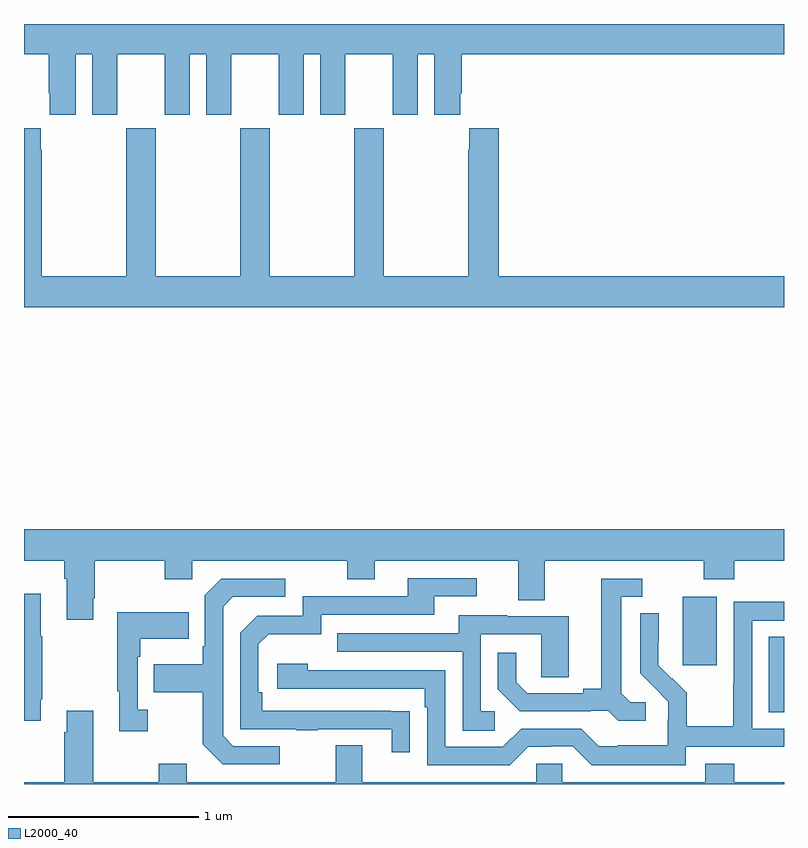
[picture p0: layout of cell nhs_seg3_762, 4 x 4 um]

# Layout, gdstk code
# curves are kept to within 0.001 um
import gdstk
lib = gdstk.Library(unit=1e-6, precision=1e-09)
def R(c, l, rs):  # rectangles x0, y0, x1, y1
    for r in rs: c.add(gdstk.rectangle(r[:2], r[2:], *l))
def P(c, l, *ps):  # polygons
    for p in ps: c.add(gdstk.Polygon(p, *l))
L2000_40 = (2000, 40)

nhs_seg3_762 = lib.new_cell('nhs_seg3_762')
R(nhs_seg3_762, L2000_40, [(152.921,706.777,153,707.174), (152.468,707.025,152.647,707.386)])
P(nhs_seg3_762, L2000_40, [(149,710.24),(149.129,710.24),(149.129,710.035),(149.135,710.035),(149.135,709.923),(149.272,709.923),(149.272,710.24),(149.36,710.24),(149.36,709.923),(149.491,709.923),(149.491,710.24),(149.741,710.24),(149.741,709.923),(149.872,709.923),(149.872,710.24),(149.96,710.24),(149.96,709.923),(150.091,709.923),(150.091,710.24),(150.341,710.24),(150.341,709.923),(150.472,709.923),(150.472,710.24),(150.56,710.24),(150.56,709.923),(150.691,709.923),(150.691,710.24),(150.941,710.24),(150.941,709.923),(151.072,709.923),(151.072,710.24),(151.16,710.24),(151.16,709.923),(151.297,709.923),(151.297,710.035),(151.304,710.035),(151.304,710.24),(153,710.24),(153,710.4),(149,710.4)],
  [(153,709.072),(151.499,709.072),(151.499,709.852),(151.343,709.852),(151.343,709.739),(151.339,709.739),(151.339,709.072),(150.894,709.072),(150.894,709.852),(150.739,709.852),(150.739,709.072),(150.294,709.072),(150.294,709.852),(150.139,709.852),(150.139,709.072),(149.694,709.072),(149.694,709.852),(149.539,709.852),(149.539,709.072),(149.094,709.072),(149.094,709.739),(149.089,709.739),(149.089,709.852),(149,709.852),(149,708.908),(153,708.908)],
  [(149.365,707.377),(149.373,707.377),(149.373,707.576),(149.74,707.576),(149.74,707.477),(149.886,707.477),(149.886,707.576),(150.7,707.576),(150.7,707.477),(150.847,707.477),(150.847,707.576),(151.601,707.576),(151.601,707.368),(151.741,707.368),(151.741,707.576),(152.578,707.576),(152.578,707.477),(152.738,707.477),(152.738,707.576),(153,707.576),(153,707.74),(149,707.74),(149,707.576),(149.213,707.576),(149.213,707.48),(149.225,707.48),(149.225,707.265),(149.365,707.265)],
  [(151.031,706.784),(150.254,706.785),(150.254,706.882),(150.234,706.882),(150.234,707.136),(150.287,707.189),(150.564,707.189),(150.564,707.292),(151.159,707.292),(151.159,707.388),(151.384,707.388),(151.384,707.484),(151.019,707.484),(151.019,707.388),(150.468,707.388),(150.468,707.286),(150.228,707.286),(150.138,707.196),(150.138,706.689),(150.433,706.689),(150.433,706.684),(150.545,706.684),(150.545,706.689),(150.935,706.689),(150.935,706.566),(151.031,706.566)],
  [(152.272,706.83),(152.19,706.83),(152.143,706.877),(152.143,707.385),(152.254,707.385),(152.254,707.481),(152.039,707.481),(152.039,706.901),(151.943,706.901),(151.943,706.878),(151.648,706.878),(151.591,706.935),(151.591,707.092),(151.494,707.092),(151.494,706.898),(151.61,706.782),(151.982,706.782),(151.982,706.785),(152.076,706.785),(152.128,706.733),(152.272,706.733)],
  [(150.346,706.599),(150.102,706.599),(150.048,706.653),(150.048,707.334),(150.099,707.385),(150.376,707.385),(150.376,707.481),(150.039,707.481),(149.952,707.394),(149.952,707.125),(149.94,707.125),(149.94,707.029),(149.683,707.029),(149.683,706.882),(149.94,706.882),(149.94,706.609),(150.045,706.503),(150.346,706.503)],
  [(149.089,706.846),(149.097,706.846),(149.097,707.177),(149.089,707.177),(149.089,707.401),(149,707.401),(149,706.734),(149.089,706.734)],
  [(152.484,706.596),(153,706.596),(153,706.692),(152.832,706.692),(152.832,707.259),(153,707.259),(153,707.358),(152.736,707.358),(152.736,706.928),(152.734,706.928),(152.734,706.705),(152.489,706.705),(152.489,706.879),(152.412,706.956),(152.409,706.953),(152.339,707.024),(152.34,707.3),(152.244,707.3),(152.244,706.982),(152.39,706.834),(152.39,706.737),(152.388,706.737),(152.388,706.603),(152.125,706.603),(152.125,706.599),(152.025,706.599),(151.932,706.692),(151.617,706.692),(151.521,706.596),(151.218,706.596),(151.218,706.998),(150.494,706.998),(150.494,707.032),(150.333,707.032),(150.333,706.902),(151.109,706.902),(151.109,706.805),(151.122,706.805),(151.122,706.5),(151.557,706.5),(151.653,706.596),(151.772,706.596),(151.772,706.599),(151.887,706.599),(151.987,706.499),(152.484,706.499)],
  [(149.65,706.79),(149.598,706.79),(149.598,707.069),(149.611,707.069),(149.611,707.165),(149.867,707.165),(149.867,707.305),(149.49,707.305),(149.49,706.889),(149.501,706.889),(149.501,706.677),(149.65,706.677)],
  [(151.477,706.782),(151.404,706.782),(151.404,707.187),(151.722,707.187),(151.722,706.963),(151.867,706.963),(151.867,707.283),(151.543,707.283),(151.543,707.287),(151.289,707.287),(151.289,707.193),(150.649,707.193),(150.649,707.097),(151.308,707.097),(151.308,706.681),(151.477,706.681)],
  [(153,706.408),(152.738,706.408),(152.738,706.507),(152.585,706.507),(152.585,706.408),(151.833,706.408),(151.833,706.506),(151.695,706.506),(151.695,706.408),(150.781,706.408),(150.781,706.603),(150.641,706.603),(150.641,706.408),(149.857,706.408),(149.857,706.507),(149.71,706.507),(149.71,706.408),(149.365,706.408),(149.365,706.786),(149.225,706.786),(149.225,706.673),(149.213,706.673),(149.213,706.408),(149,706.408),(149,706.4),(153,706.4)])

lib.write_gds('nhs_seg3_762.gds')
